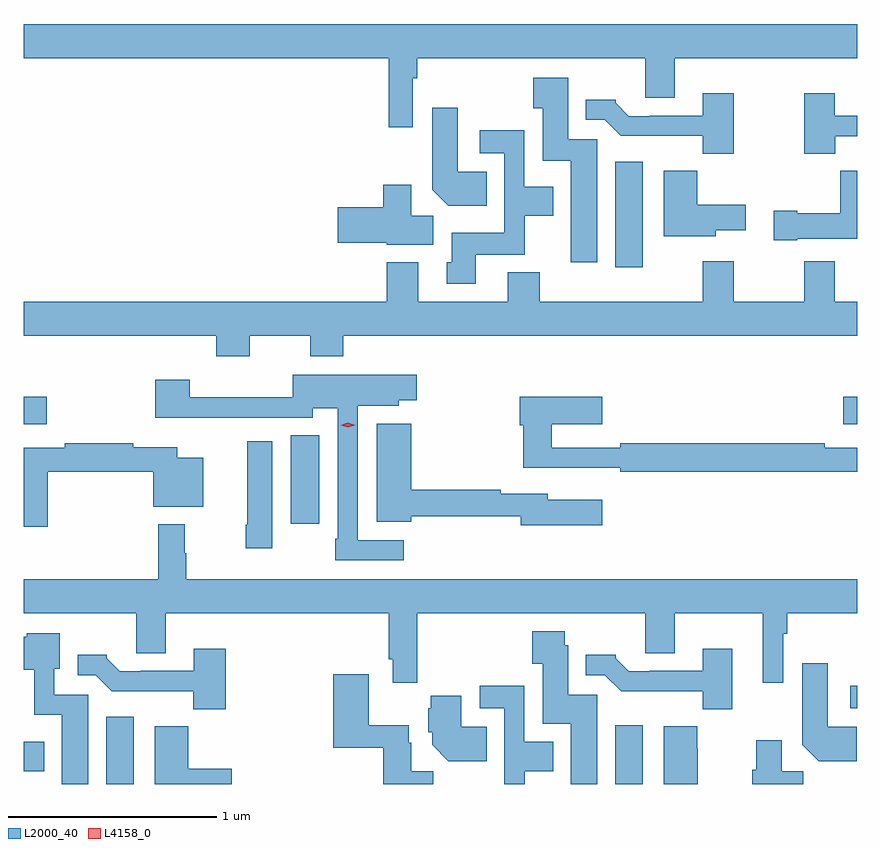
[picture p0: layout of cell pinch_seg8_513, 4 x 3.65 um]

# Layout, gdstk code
import gdstk
lib = gdstk.Library(unit=1e-6, precision=1e-09)
def R(c, l, rs):  # rectangles x0, y0, x1, y1
    for r in rs: c.add(gdstk.rectangle(r[:2], r[2:], *l))
def P(c, l, *ps):  # polygons
    for p in ps: c.add(gdstk.Polygon(p, *l))
L2000_40 = (2000, 40)
L4158_0 = (4158, 0)

pinch_seg8_513 = lib.new_cell('pinch_seg8_513')
R(pinch_seg8_513, L2000_40, [(215.525,1121.01,215.656,1121.332), (217.967,1121.01,218.098,1121.293), (215.128,1121.072,215.227,1121.212), (219.093,1121.373,219.128,1121.482), (216.41,1122.258,216.547,1122.683), (215.128,1122.737,215.239,1122.867), (219.06,1122.737,219.128,1122.867), (217.967,1123.488,218.098,1123.996)])
P(pinch_seg8_513, L2000_40, [(216.996,1124.396),(217.016,1124.396),(217.016,1124.492),(218.111,1124.492),(218.111,1124.302),(218.251,1124.302),(218.251,1124.492),(219.128,1124.492),(219.128,1124.656),(215.128,1124.656),(215.128,1124.492),(216.88,1124.492),(216.88,1124.16),(216.996,1124.16)],
  [(217.879,1124.103),(217.741,1124.103),(217.741,1124.398),(217.573,1124.398),(217.573,1124.251),(217.619,1124.251),(217.619,1124),(217.754,1124),(217.754,1123.512),(217.879,1123.512)],
  [(218.535,1124.323),(218.387,1124.323),(218.387,1124.217),(218.131,1124.217),(218.131,1124.214),(218.032,1124.214),(217.968,1124.278),(217.968,1124.293),(217.826,1124.293),(217.826,1124.196),(217.917,1124.196),(217.993,1124.12),(218.385,1124.12),(218.385,1124.033),(218.535,1124.033)],
  [(219.022,1124.118),(219.128,1124.118),(219.128,1124.217),(219.019,1124.217),(219.019,1124.323),(218.872,1124.323),(218.872,1124.033),(219.022,1124.033)],
  [(217.349,1123.948),(217.21,1123.948),(217.21,1124.254),(217.088,1124.254),(217.088,1123.862),(217.166,1123.784),(217.349,1123.784)],
  [(217.297,1123.55),(217.533,1123.55),(217.533,1123.736),(217.669,1123.736),(217.669,1123.876),(217.53,1123.876),(217.53,1124.146),(217.317,1124.146),(217.317,1124.037),(217.434,1124.037),(217.434,1123.654),(217.181,1123.654),(217.181,1123.512),(217.157,1123.512),(217.157,1123.41),(217.297,1123.41)],
  [(218.449,1123.667),(218.593,1123.667),(218.593,1123.789),(218.36,1123.789),(218.36,1123.951),(218.198,1123.951),(218.198,1123.637),(218.449,1123.637)],
  [(218.839,1123.625),(219.128,1123.625),(219.128,1123.951),(219.046,1123.951),(219.046,1123.747),(218.839,1123.747),(218.839,1123.76),(218.727,1123.76),(218.727,1123.618),(218.839,1123.618)],
  [(217.093,1123.736),(216.988,1123.736),(216.988,1123.885),(216.854,1123.885),(216.854,1123.778),(216.636,1123.778),(216.636,1123.607),(216.87,1123.607),(216.87,1123.598),(217.093,1123.598)],
  [(216.213,1123.16),(216.502,1123.16),(216.502,1123.061),(216.662,1123.061),(216.662,1123.16),(219.128,1123.16),(219.128,1123.324),(219.019,1123.324),(219.019,1123.519),(218.872,1123.519),(218.872,1123.324),(218.535,1123.324),(218.535,1123.519),(218.387,1123.519),(218.387,1123.324),(217.604,1123.324),(217.604,1123.465),(217.451,1123.465),(217.451,1123.324),(217.021,1123.324),(217.021,1123.513),(216.869,1123.513),(216.869,1123.324),(215.128,1123.324),(215.128,1123.16),(216.053,1123.16),(216.053,1123.061),(216.213,1123.061)],
  [(216.952,1122.18),(216.732,1122.18),(216.732,1122.824),(216.927,1122.824),(216.927,1122.851),(217.015,1122.851),(217.015,1122.973),(216.42,1122.973),(216.42,1122.866),(215.924,1122.866),(215.924,1122.949),(215.759,1122.949),(215.759,1122.767),(216.007,1122.767),(216.007,1122.768),(216.516,1122.768),(216.516,1122.812),(216.636,1122.812),(216.636,1122.187),(216.624,1122.187),(216.624,1122.084),(216.952,1122.084)],
  [(219.128,1122.624),(218.972,1122.624),(218.972,1122.644),(217.99,1122.644),(217.99,1122.624),(217.661,1122.624),(217.661,1122.737),(217.903,1122.737),(217.903,1122.867),(217.507,1122.867),(217.507,1122.73),(217.525,1122.73),(217.525,1122.528),(217.79,1122.528),(217.79,1122.527),(217.99,1122.527),(217.99,1122.508),(219.128,1122.508)],
  [(217.903,1122.373),(217.642,1122.373),(217.642,1122.402),(217.418,1122.402),(217.418,1122.422),(216.988,1122.422),(216.988,1122.739),(216.821,1122.739),(216.821,1122.269),(216.988,1122.269),(216.988,1122.294),(217.514,1122.294),(217.514,1122.251),(217.903,1122.251)],
  [(216.322,1122.655),(216.2,1122.655),(216.2,1122.253),(216.193,1122.253),(216.193,1122.141),(216.322,1122.141)],
  [(215.243,1122.508),(215.75,1122.508),(215.75,1122.341),(215.989,1122.341),(215.989,1122.574),(215.866,1122.574),(215.866,1122.625),(215.654,1122.625),(215.654,1122.644),(215.326,1122.644),(215.326,1122.624),(215.128,1122.624),(215.128,1122.243),(215.243,1122.243)],
  [(217.016,1121.828),(218.111,1121.828),(218.111,1121.638),(218.251,1121.638),(218.251,1121.828),(218.675,1121.828),(218.675,1121.496),(218.772,1121.496),(218.772,1121.732),(218.792,1121.732),(218.792,1121.828),(219.128,1121.828),(219.128,1121.992),(215.909,1121.992),(215.909,1122.116),(215.902,1122.116),(215.902,1122.256),(215.773,1122.256),(215.773,1121.992),(215.128,1121.992),(215.128,1121.828),(215.669,1121.828),(215.669,1121.638),(215.809,1121.638),(215.809,1121.828),(216.88,1121.828),(216.88,1121.608),(216.9,1121.608),(216.9,1121.496),(217.016,1121.496)],
  [(217.879,1121.439),(217.741,1121.439),(217.741,1121.676),(217.725,1121.676),(217.725,1121.743),(217.568,1121.743),(217.568,1121.587),(217.619,1121.587),(217.619,1121.3),(217.754,1121.3),(217.754,1121.01),(217.879,1121.01)],
  [(215.437,1121.439),(215.274,1121.439),(215.274,1121.562),(215.302,1121.562),(215.302,1121.734),(215.142,1121.734),(215.142,1121.716),(215.128,1121.716),(215.128,1121.558),(215.178,1121.558),(215.178,1121.342),(215.312,1121.342),(215.312,1121.01),(215.437,1121.01)],
  [(218.527,1121.659),(218.387,1121.659),(218.387,1121.553),(218.131,1121.553),(218.131,1121.55),(218.032,1121.55),(217.968,1121.614),(217.968,1121.629),(217.826,1121.629),(217.826,1121.532),(217.917,1121.532),(217.996,1121.454),(218.385,1121.454),(218.385,1121.369),(218.527,1121.369)],
  [(216.098,1121.659),(215.945,1121.659),(215.945,1121.553),(215.689,1121.553),(215.689,1121.55),(215.59,1121.55),(215.526,1121.614),(215.526,1121.629),(215.387,1121.629),(215.387,1121.532),(215.475,1121.532),(215.551,1121.456),(215.943,1121.456),(215.943,1121.369),(216.098,1121.369)],
  [(219.125,1121.284),(218.986,1121.284),(218.986,1121.59),(218.864,1121.59),(218.864,1121.198),(218.942,1121.12),(219.125,1121.12)],
  [(217.093,1121.072),(216.988,1121.072),(216.988,1121.208),(216.976,1121.208),(216.976,1121.293),(216.784,1121.293),(216.784,1121.536),(216.614,1121.536),(216.614,1121.183),(216.854,1121.183),(216.854,1121.01),(217.093,1121.01)],
  [(217.533,1121.072),(217.669,1121.072),(217.669,1121.212),(217.53,1121.212),(217.53,1121.482),(217.317,1121.482),(217.317,1121.373),(217.434,1121.373),(217.434,1121.01),(217.533,1121.01)],
  [(217.349,1121.284),(217.228,1121.284),(217.228,1121.434),(217.081,1121.434),(217.081,1121.373),(217.07,1121.373),(217.07,1121.259),(217.088,1121.259),(217.088,1121.198),(217.166,1121.12),(217.349,1121.12)],
  [(218.362,1121.18),(218.36,1121.18),(218.36,1121.287),(218.198,1121.287),(218.198,1121.01),(218.362,1121.01)],
  [(216.127,1121.083),(215.918,1121.083),(215.918,1121.287),(215.756,1121.287),(215.756,1121.01),(216.127,1121.01)],
  [(218.869,1121.072),(218.764,1121.072),(218.764,1121.221),(218.642,1121.221),(218.642,1121.079),(218.624,1121.079),(218.624,1121.01),(218.869,1121.01)])
P(pinch_seg8_513, L4158_0, [(216.684,1122.722),(216.649,1122.731),(216.648,1122.731),(216.649,1122.731),(216.683,1122.742),(216.718,1122.732),(216.719,1122.732),(216.718,1122.732)])

lib.write_gds('pinch_seg8_513.gds')
